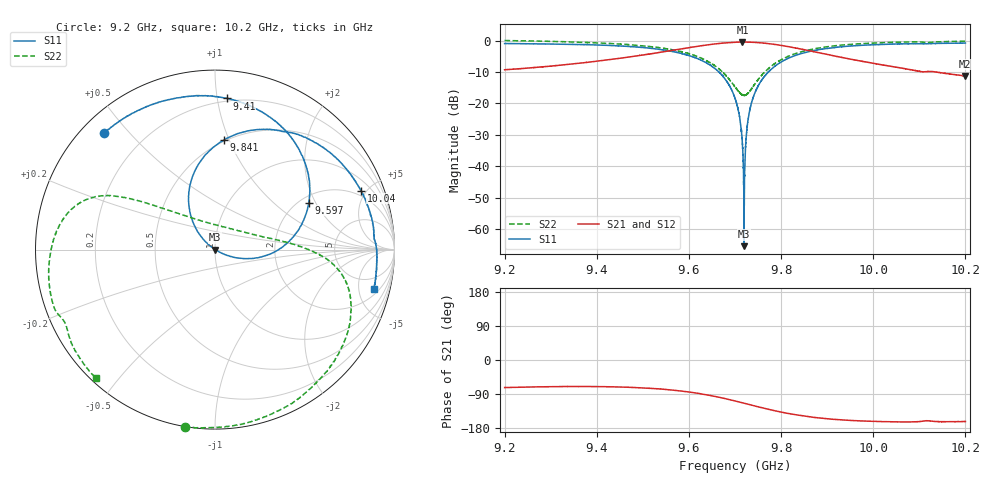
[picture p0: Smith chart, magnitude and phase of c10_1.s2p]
!Agilent Technologies,N5242A,MY51221714,A.09.90.19
!Agilent N5242A: A.09.90.19
!Date: Tuesday, March 26, 2024 15:32:24
!Correction: S11(Full 2 Port(1,2))
!S21(Full 2 Port(1,2))
!S12(Full 2 Port(1,2))
!S22(Full 2 Port(1,2))
!S2P File: Measurements: S11, S21, S12, S22:
# Hz S  dB  R 50
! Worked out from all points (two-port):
!   16001 points, 9.2 GHz to 10.2 GHz, reference 50 ohm
!   highest |S21| = -0.48 dB at 9.716 GHz (marker M1); lowest = -11.3 dB at 10.2 GHz (marker M2)
!   |S21| within 3 dB of the highest: 9.548911 GHz to 9.549063 GHz (151.9 kHz wide, 0.00159 % of centre); 9.549 GHz to 9.869 GHz (319.7 MHz wide, 3.29 % of centre)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
!   lowest |S11| = -65.5 dB at 9.72 GHz (marker M3), VSWR 1.00, Z = 50 + j0.0482 ohm
!   |S11| at or under -10 dB: 9.665 GHz to 9.772 GHz (107.6 MHz wide, 1.11 % of centre)
!   |S22| runs from -17.5 to 0.0 dB; largest |S21 - S12| = 0.011
!   S11 on the Smith chart (normalised r, x): 9.2 GHz: 0.07, +0.43; 9.41 GHz: 0.18, +1.06; 9.597 GHz: 2.22, +1.77; 9.841 GHz: 0.49, +0.96; 10.04 GHz: 1.61, +4.59; 10.2 GHz: 2.78, -7.23
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9.2e9  -0.96 133.7  -9.30 -72.7  -9.29 -73.4  0.02 -99.6
9.366688e9  -1.28 96.5  -7.16 -69.9  -7.15 -70.6  -0.58 -54.8
9.410125e9  -1.46 85.6  -6.41 -70.2  -6.40 -70.9  -0.82 -43.7
9.533375e9  -2.78 49.9  -3.86 -76.2  -3.84 -76.7  -2.21 -16.2
9.59725e9  -4.66 26.6  -2.34 -84.0  -2.33 -84.6  -4.07 -4.9
9.663062e9  -9.76 -3.0  -0.97 -97.8  -0.97 -98.2  -8.75 7.9
9.7e9  -18.34 -21.8  -0.54 -108.1  -0.54 -108.6  -14.71 33.0
9.710688e9  -25.06 -26.5  -0.49 -111.3  -0.49 -111.8  -16.69 52.3
9.716188e9  -32.92 -28.2  -0.48 -113.0  -0.49 -113.5  -17.27 65.5
9.71975e9  -65.49 114.7  -0.49 -114.1  -0.48 -114.6  -17.42 75.2
9.722938e9  -33.95 141.9  -0.48 -115.1  -0.48 -115.6  -17.35 84.2
9.726562e9  -27.28 141.9  -0.49 -116.3  -0.49 -116.8  -17.03 93.4
9.731312e9  -22.65 139.7  -0.52 -117.7  -0.50 -118.2  -16.31 104.1
9.749625e9  -14.65 129.6  -0.66 -123.3  -0.64 -123.8  -12.51 129.2
9.785688e9  -8.28 111.2  -1.22 -133.6  -1.22 -134.2  -7.39 144.4
9.84125e9  -4.25 85.3  -2.63 -146.3  -2.64 -146.8  -3.69 152.6
9.866688e9  -3.32 75.1  -3.40 -150.7  -3.41 -151.1  -2.79 156.0
9.934562e9  -1.93 51.5  -5.45 -158.2  -5.45 -158.7  -1.41 166.8
1.003338e10  -1.19 23.7  -8.09 -162.9  -8.08 -163.4  -0.61 -173.4
1.003988e10  -1.14 22.0  -8.24 -163.0  -8.25 -163.5  -0.58 -172.0
1.019988e10  -0.81 -13.7  -11.29 -162.4  -11.28 -162.9  -0.21 -133.0
1.02e10  -0.79 -13.8  -11.27 -162.4  -11.27 -162.9  -0.22 -132.9
